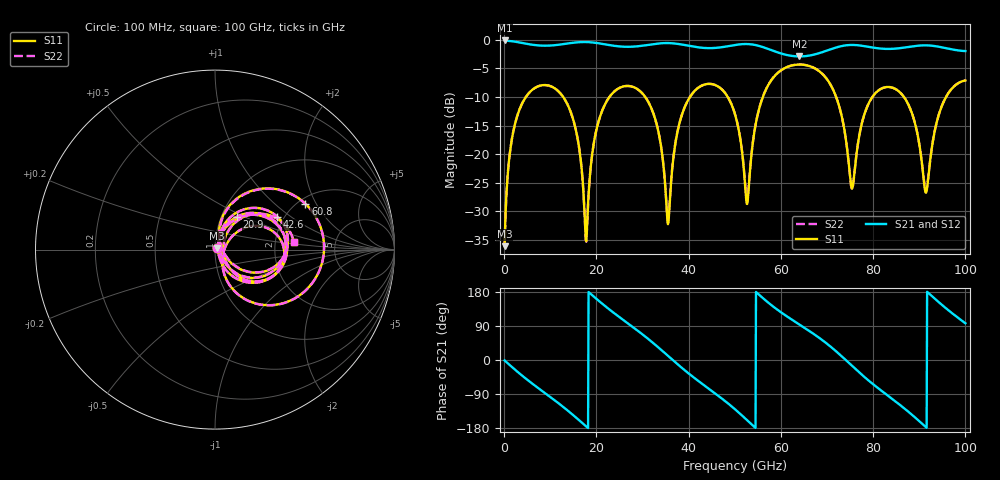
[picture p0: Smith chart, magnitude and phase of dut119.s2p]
! Touchstone file exported from HFSS 2026.1.0
!  File:  C:/ffzhzh/LocalFiles/Ansys_Project_Files/temp_train_TSV_RDL_119_1783637033_33328.aedt
!  Generated:  06:54:21 AM Jul 10, 2026
!  Design:  TSV_RDL
!  Project:  temp_train_TSV_RDL_119_1783637033_33328
! Variables:
!  h_bsmrdl = 4.49um
!  h_ox = 20um
!  h_rdl = 5um
!  h_sub = 65.19um
!  h_tmrdl = 4.07um
!  h_tsv = 65.19um
!  h_via = 3um
!  l_bsmrdl = 239.67um
!  l_sub = 3418.83um
!  l_tmrdl = 541.04um
!  m_sub = 200um
!  pitch = 40.88um
!  r_tsv = 7.91um
!  s_tmrdl = 10um
!  w_bsmrdl = 22.15um
!  w_sub = 500um
!  w_tmrdl = 23.07um
!  x_tsv_center1 = 552.575um
!  x_tsv_center2 = 814.395um
!  x_tsv_center3 = 1378.505um
!  x_tsv_center4 = 1640.325um
!  x_tsv_center5 = 2204.435um
!  x_tsv_center6 = 2466.255um
# GHz S MA R 50.000000
! Terminal data exported
! Port[1] = TM_RDL1_1_T1
! Port[2] = TM_RDL5_1_T1
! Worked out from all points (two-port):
!   1000 points, 100 MHz to 100 GHz, reference 50 ohm
!   highest |S21| = -0.11 dB at 100 MHz (marker M1); lowest = -2.9 dB at 64 GHz (marker M2)
!   |S21| within 3 dB of the highest: start of sweep to end of sweep
!   lowest |S11| = -36.1 dB at 100 MHz (marker M3), VSWR 1.03, Z = 51.3 + j0.937 ohm
!   |S11| at or under -10 dB: 12.8 GHz to 22.83 GHz (10.03 GHz wide, 56.3 % of centre); 30.59 GHz to 40.29 GHz (9.7 GHz wide, 27.4 % of centre); 86.68 GHz to 95.8 GHz (9.128 GHz wide, 10 % of centre) (the widest 3 of 6)
!   |S22| runs from -36.1 to -4.3 dB; largest |S21 - S12| = 1.7e-14
!   S11 on the Smith chart (normalised r, x): 100 MHz: 1.03, +0.02; 20.9 GHz: 1.18, +0.45; 42.6 GHz: 1.84, +0.80; 60.8 GHz: 2.19, +1.64; 100 GHz: 2.54, +0.27
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0.1  0.01565 35.7  0.9874 -1.2  0.9874 -1.2  0.01565 35.7
! Gamma 0 0 0 0
! Port Impedance 50 0 50 0
2.1  0.166 60.8  0.9676 -22.8  0.9676 -22.8  0.166 60.8
6.4  0.3732 21.5  0.9024 -65.1  0.9024 -65.1  0.3732 21.5
13.2  0.2985 -37.9  0.9218 -127.7  0.9218 -127.7  0.2984 -37.9
16.8  0.07451 -64.0  0.9559 -164.7  0.9559 -164.7  0.07447 -64.0
17.9  0.01995 32.2  0.9559 -176.4  0.9559 -176.4  0.01977 32.6
20.9  0.2196 56.4  0.9271 152.2  0.9271 152.2  0.2196 56.5
27.4  0.3926 0.2  0.8697 91.5  0.8697 91.5  0.3925 0.4
33.4  0.16 -50.2  0.9284 33.6  0.9284 33.6  0.1601 -49.4
35.6  0.02501 22.0  0.9366 10.1  0.9366 10.1  0.027 21.6
38.1  0.1925 65.6  0.9155 -16.4  0.9155 -16.4  0.193 65.1
42.6  0.3928 27.7  0.8543 -59.9  0.8543 -59.9  0.3931 27.6
50.1  0.2195 -34.2  0.9016 -130.5  0.9016 -130.5  0.22 -33.7
52.7  0.03663 25.1  0.9184 -159.1  0.9184 -159.1  0.0396 24.6
55.6  0.2766 70.1  0.8764 168.6  0.8764 168.6  0.277 69.4
60.8  0.5649 26.9  0.7447 119.3  0.7447 119.3  0.5651 26.6
64  0.6079 3.1  0.7156 93.7  0.7156 93.7  0.608 2.9
66.7  0.5794 -16.8  0.7351 72.2  0.7351 72.2  0.5795 -17.0
75.4  0.04994 -16.7  0.9022 -15.3  0.9022 -15.3  0.04926 -16.8
83.4  0.3867 -6.7  0.8326 -96.0  0.8326 -96.0  0.3866 -6.6
91.4  0.04604 -2.3  0.8947 -176.7  0.8947 -176.7  0.04751 -1.9
100  0.441 5.6  0.7975 96.8  0.7975 96.8  0.4413 5.3
